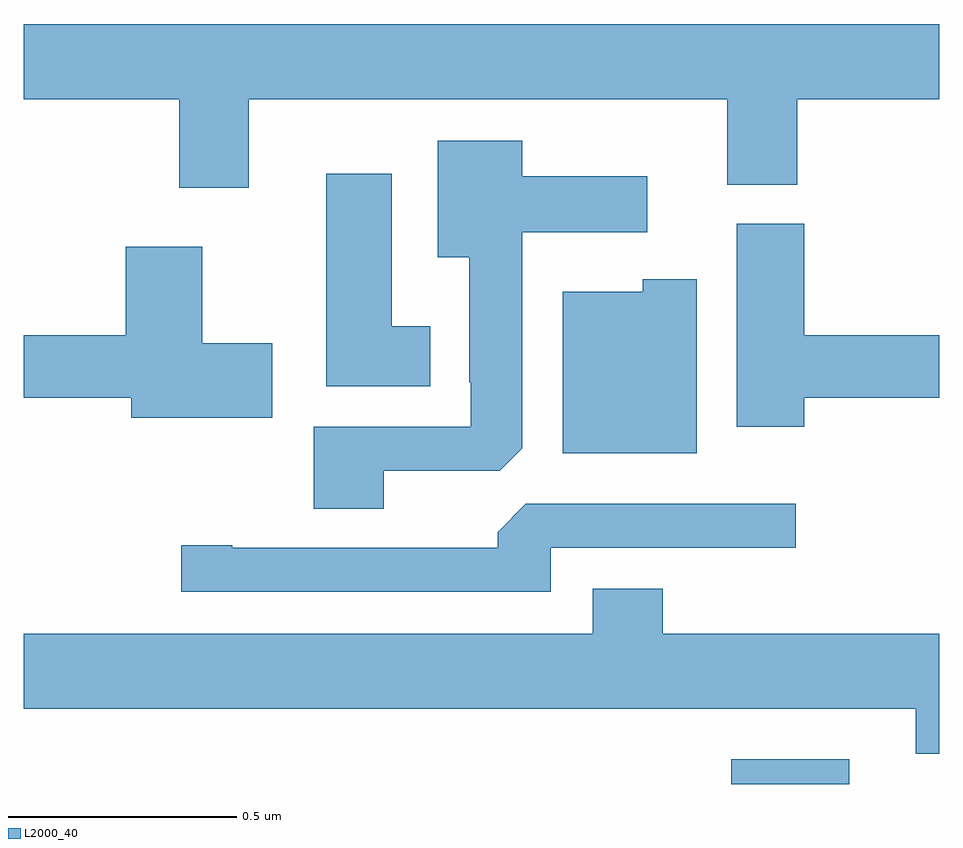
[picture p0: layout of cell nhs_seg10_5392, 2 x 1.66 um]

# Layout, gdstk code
import gdstk
lib = gdstk.Library(unit=1e-6, precision=1e-09)
def R(c, l, rs):  # rectangles x0, y0, x1, y1
    for r in rs: c.add(gdstk.rectangle(r[:2], r[2:], *l))
def P(c, l, *ps):  # polygons
    for p in ps: c.add(gdstk.Polygon(p, *l))
L2000_40 = (2000, 40)

nhs_seg10_5392 = lib.new_cell('nhs_seg10_5392')
R(nhs_seg10_5392, L2000_40, [(179.545,1285.5,179.803,1285.554)])
P(nhs_seg10_5392, L2000_40, [(178.492,1286.996),(179.537,1286.996),(179.537,1286.809),(179.69,1286.809),(179.69,1286.996),(180,1286.996),(180,1287.16),(178,1287.16),(178,1286.996),(178.34,1286.996),(178.34,1286.802),(178.492,1286.802)],
  [(178.786,1286.184),(179.04,1286.184),(179.089,1286.233),(179.089,1286.705),(179.362,1286.705),(179.362,1286.827),(179.089,1286.827),(179.089,1286.905),(178.904,1286.905),(178.904,1286.651),(178.973,1286.651),(178.973,1286.377),(178.977,1286.377),(178.977,1286.28),(178.634,1286.28),(178.634,1286.101),(178.786,1286.101)],
  [(178.888,1286.5),(178.804,1286.5),(178.804,1286.833),(178.661,1286.833),(178.661,1286.369),(178.888,1286.369)],
  [(179.705,1286.344),(180,1286.344),(180,1286.48),(179.705,1286.48),(179.705,1286.724),(179.558,1286.724),(179.558,1286.28),(179.705,1286.28)],
  [(178.543,1286.463),(178.39,1286.463),(178.39,1286.674),(178.223,1286.674),(178.223,1286.48),(178,1286.48),(178,1286.344),(178.235,1286.344),(178.235,1286.3),(178.543,1286.3)],
  [(179.47,1286.602),(179.352,1286.602),(179.352,1286.575),(179.177,1286.575),(179.177,1286.222),(179.47,1286.222)],
  [(179.151,1286.016),(179.686,1286.016),(179.686,1286.112),(179.097,1286.112),(179.036,1286.05),(179.036,1286.016),(178.456,1286.016),(178.456,1286.021),(178.344,1286.021),(178.344,1285.92),(179.151,1285.92)],
  [(180,1285.828),(179.396,1285.828),(179.396,1285.927),(179.243,1285.927),(179.243,1285.828),(178,1285.828),(178,1285.664),(179.948,1285.664),(179.948,1285.566),(180,1285.566)])

lib.write_gds('nhs_seg10_5392.gds')
